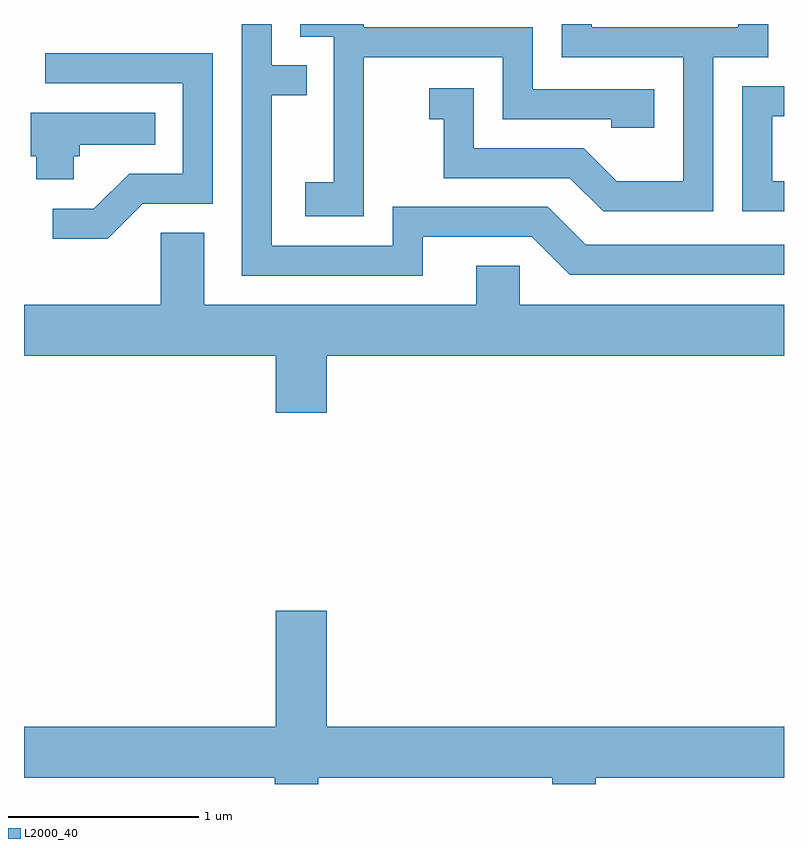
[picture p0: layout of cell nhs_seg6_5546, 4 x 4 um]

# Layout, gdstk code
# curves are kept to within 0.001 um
import gdstk
lib = gdstk.Library(unit=1e-6, precision=1e-09)
def P(c, l, *ps):  # polygons
    for p in ps: c.add(gdstk.Polygon(p, *l))
L2000_40 = (2000, 40)

nhs_seg6_5546 = lib.new_cell('nhs_seg6_5546')
P(nhs_seg6_5546, L2000_40, [(355.399,1615.986),(356.131,1615.986),(356.131,1615.661),(356.701,1615.661),(356.701,1615.616),(356.929,1615.616),(356.929,1615.819),(356.289,1615.819),(356.289,1616.144),(355.399,1616.144),(355.399,1616.162),(355.066,1616.162),(355.066,1616.096),(355.241,1616.096),(355.241,1615.329),(355.091,1615.329),(355.091,1615.151),(355.399,1615.151)],
  [(357.239,1615.986),(357.529,1615.986),(357.529,1616.162),(357.371,1616.162),(357.371,1616.144),(356.599,1616.144),(356.599,1616.162),(356.441,1616.162),(356.441,1615.986),(357.081,1615.986),(357.081,1615.334),(356.732,1615.334),(356.557,1615.509),(355.979,1615.509),(355.979,1615.824),(355.743,1615.824),(355.743,1615.661),(355.821,1615.661),(355.821,1615.351),(356.484,1615.351),(356.659,1615.176),(357.239,1615.176)],
  [(355.709,1615.041),(356.284,1615.041),(356.484,1614.841),(357.611,1614.841),(357.611,1614.999),(356.567,1614.999),(356.367,1615.199),(355.551,1615.199),(355.551,1614.994),(354.914,1614.994),(354.914,1615.786),(355.098,1615.786),(355.098,1615.944),(354.914,1615.944),(354.914,1616.162),(353.611,1616.162),(354.756,1616.161),(354.756,1614.836),(355.709,1614.836)],
  [(354.237,1615.216),(354.604,1615.216),(354.604,1616.009),(353.723,1616.009),(353.723,1615.851),(354.446,1615.851),(354.446,1615.374),(354.164,1615.374),(353.979,1615.189),(353.763,1615.189),(353.763,1615.031),(354.052,1615.031)],
  [(357.611,1615.334),(357.549,1615.334),(357.549,1615.676),(357.611,1615.676),(357.611,1615.834),(357.391,1615.834),(357.391,1615.176),(357.611,1615.176)],
  [(353.874,1615.466),(353.904,1615.466),(353.904,1615.526),(354.303,1615.526),(354.303,1615.694),(353.646,1615.694),(353.646,1615.466),(353.676,1615.466),(353.676,1615.346),(353.874,1615.346)],
  [(355.204,1614.416),(357.611,1614.416),(357.611,1614.684),(356.219,1614.684),(356.219,1614.889),(355.991,1614.889),(355.991,1614.684),(354.559,1614.684),(354.559,1615.064),(354.331,1615.064),(354.331,1614.684),(353.611,1614.684),(353.611,1614.416),(354.936,1614.416),(354.936,1614.116),(355.204,1614.116)],
  [(355.159,1612.196),(356.391,1612.196),(356.391,1612.162),(356.619,1612.162),(356.619,1612.196),(357.611,1612.196),(357.611,1612.464),(355.204,1612.464),(355.204,1613.074),(354.936,1613.074),(354.936,1612.464),(353.611,1612.464),(353.611,1612.196),(354.931,1612.196),(354.931,1612.162),(355.159,1612.162)])

lib.write_gds('nhs_seg6_5546.gds')
